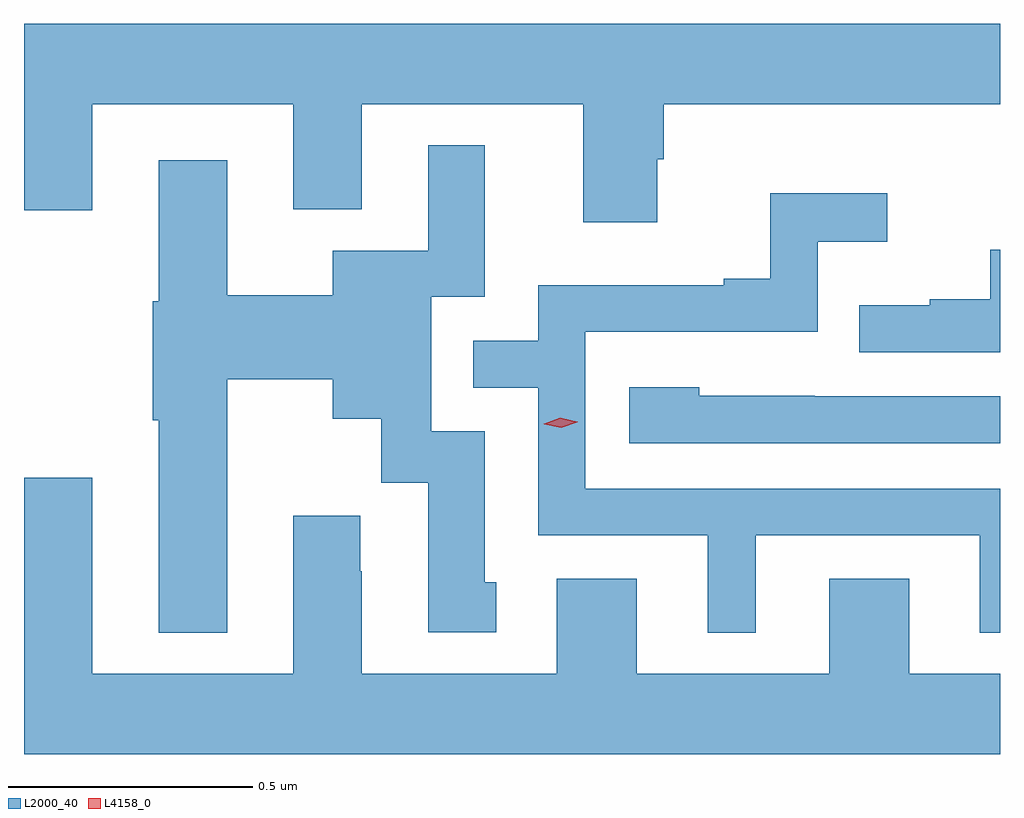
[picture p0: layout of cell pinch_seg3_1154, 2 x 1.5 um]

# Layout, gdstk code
import gdstk
lib = gdstk.Library(unit=1e-6, precision=1e-09)
def P(c, l, *ps):  # polygons
    for p in ps: c.add(gdstk.Polygon(p, *l))
L2000_40 = (2000, 40)
L4158_0 = (4158, 0)

pinch_seg3_1154 = lib.new_cell('pinch_seg3_1154')
P(pinch_seg3_1154, L2000_40, [(152.023,728.775),(152.036,728.775),(152.036,728.888),(152.725,728.888),(152.725,729.052),(150.725,729.052),(150.725,728.67),(150.865,728.67),(150.865,728.888),(151.277,728.888),(151.277,728.672),(151.417,728.672),(151.417,728.888),(151.871,728.888),(151.871,728.646),(152.023,728.646)],
  [(151.141,728.324),(151.358,728.324),(151.358,728.243),(151.457,728.243),(151.457,728.112),(151.553,728.112),(151.553,727.806),(151.693,727.806),(151.693,727.908),(151.669,727.908),(151.669,728.217),(151.56,728.217),(151.56,728.493),(151.669,728.493),(151.669,728.803),(151.553,728.803),(151.553,728.587),(151.358,728.587),(151.358,728.496),(151.141,728.496),(151.141,728.773),(151.001,728.773),(151.001,728.484),(150.989,728.484),(150.989,728.24),(151.001,728.24),(151.001,727.805),(151.141,727.805)],
  [(152.224,728.004),(152.684,728.004),(152.684,727.805),(152.725,727.805),(152.725,728.1),(151.875,728.1),(151.875,728.421),(152.352,728.421),(152.352,728.606),(152.494,728.606),(152.494,728.705),(152.254,728.705),(152.254,728.53),(152.159,728.53),(152.159,728.517),(151.779,728.517),(151.779,728.403),(151.646,728.403),(151.646,728.307),(151.779,728.307),(151.779,728.004),(152.126,728.004),(152.126,727.805),(152.224,727.805)],
  [(152.725,728.589),(152.705,728.589),(152.705,728.488),(152.581,728.488),(152.581,728.476),(152.437,728.476),(152.437,728.379),(152.725,728.379)],
  [(152.725,728.289),(152.345,728.289),(152.345,728.29),(152.109,728.29),(152.109,728.308),(151.965,728.308),(151.965,728.193),(152.725,728.193)],
  [(152.725,727.72),(152.539,727.72),(152.539,727.915),(152.375,727.915),(152.375,727.72),(151.981,727.72),(151.981,727.915),(151.817,727.915),(151.817,727.72),(151.417,727.72),(151.417,727.931),(151.414,727.931),(151.414,728.044),(151.277,728.044),(151.277,727.72),(150.865,727.72),(150.865,728.122),(150.725,728.122),(150.725,727.556),(152.725,727.556)])
P(pinch_seg3_1154, L4158_0, [(151.826,728.225),(151.791,728.232),(151.79,728.233),(151.791,728.233),(151.824,728.245),(151.859,728.237),(151.86,728.237),(151.859,728.236)])

lib.write_gds('pinch_seg3_1154.gds')
